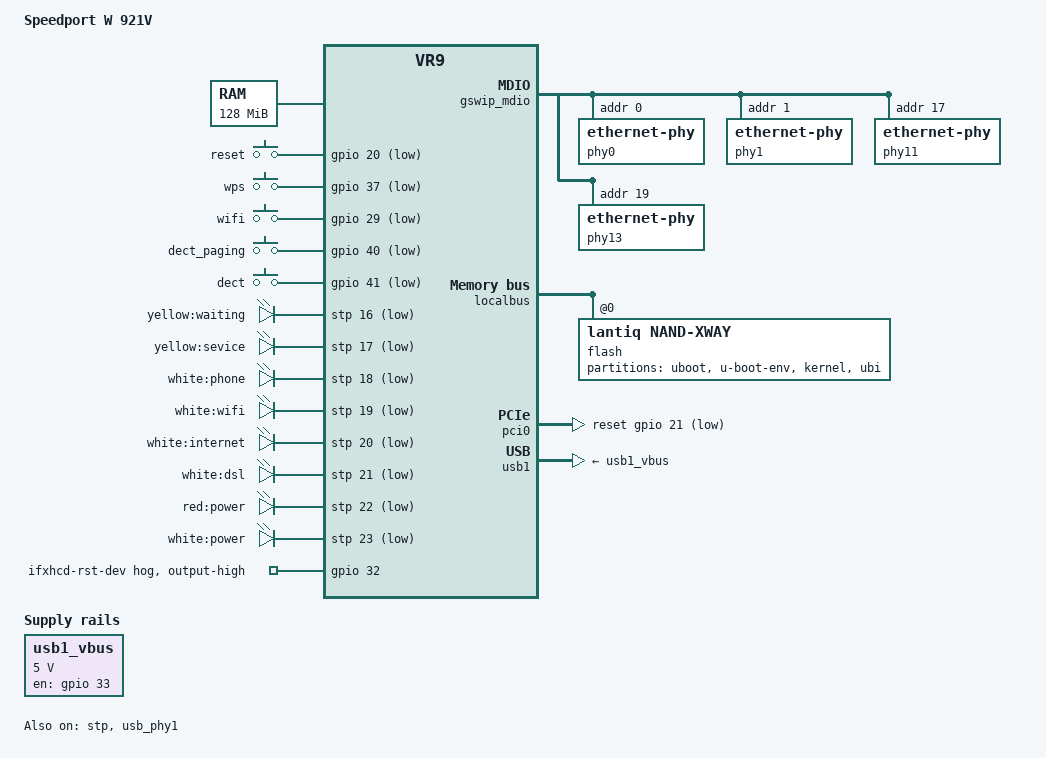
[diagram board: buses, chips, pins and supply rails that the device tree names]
#include "vr9.dtsi"

#include <dt-bindings/input/input.h>
#include <dt-bindings/leds/common.h>
#include <dt-bindings/mips/lantiq_rcu_gphy.h>

/ {
	compatible = "arcadyan,vgv953akw22", "lantiq,xway", "lantiq,vr9";
	model = "Speedport W 921V";

	chosen {
		bootargs = "console=ttyLTQ0,115200";
	};

	aliases {
		led-boot = &power_white;
		led-failsafe = &power_red;
		led-running = &power_white;
		led-upgrade = &waiting;

		led-dsl = &dsl;
		led-internet = &internet;
		led-wifi = &wifi;
	};

	memory@0 {
		device_type = "memory";
		reg = <0x0 0x8000000>;
	};

	keys {
		compatible = "gpio-keys-polled";
		poll-interval = <100>;

		reset {
			label = "reset";
			gpios = <&gpio 20 GPIO_ACTIVE_LOW>;
			linux,code = <KEY_RESTART>;
		};

		wps {
			label = "wps";
			gpios = <&gpio 37 GPIO_ACTIVE_LOW>;
			linux,code = <KEY_WPS_BUTTON>;
		};

		wifi {
			label = "wifi";
			gpios = <&gpio 29 GPIO_ACTIVE_LOW>;
			linux,code = <KEY_RFKILL>;
		};

		dect_paging {
			label = "dect_paging";
			gpios = <&gpio 40 GPIO_ACTIVE_LOW>;
			linux,code = <KEY_PHONE>;
		};

		dect_pairing {
			label = "dect";
			gpios = <&gpio 41 GPIO_ACTIVE_LOW>;
			linux,code = <KEY_CONFIG>;
		};
	};

	leds {
		compatible = "gpio-leds";

		waiting: waiting {
			label = "yellow:waiting";
			gpios = <&stp 16 GPIO_ACTIVE_LOW>;
		};
		service: service {
			label = "yellow:sevice";
			gpios = <&stp 17 GPIO_ACTIVE_LOW>;
		};
		phone: phone {
			label = "white:phone";
			gpios = <&stp 18 GPIO_ACTIVE_LOW>;
		};
		wifi: wifi {
			label = "white:wifi";
			gpios = <&stp 19 GPIO_ACTIVE_LOW>;
		};
		internet: internet {
			label = "white:internet";
			gpios = <&stp 20 GPIO_ACTIVE_LOW>;
		};
		dsl: dsl {
			label = "white:dsl";
			gpios = <&stp 21 GPIO_ACTIVE_LOW>;
		};
		power_red: power_red {
			label = "red:power";
			gpios = <&stp 22 GPIO_ACTIVE_LOW>;
		};
		power_white: power_white {
			label = "white:power";
			gpios = <&stp 23 GPIO_ACTIVE_LOW>;
			default-state = "keep";
		};
	};

	usb1_vbus: regulator-usb1-vbus {
		compatible = "regulator-fixed";

		regulator-name = "USB1_VBUS";

		regulator-min-microvolt = <5000000>;
		regulator-max-microvolt = <5000000>;

		gpios = <&gpio 33 GPIO_ACTIVE_HIGH>;
		enable-active-high;
	};
};

&gphy0 {
	lantiq,gphy-mode = <GPHY_MODE_GE>;
};

&gphy1 {
	lantiq,gphy-mode = <GPHY_MODE_GE>;
};

&gpio {
	pinctrl-names = "default";
	pinctrl-0 = <&state_default>;

	state_default: pinmux {
		exin3 {
			lantiq,groups = "exin3";
			lantiq,function = "exin";
		};
		stp {
			lantiq,groups = "stp";
			lantiq,function = "stp";
			lantiq,pull = <2>;
			lantiq,open-drain = <0>;
			lantiq,output = <1>;
		};
		pci-in {
			lantiq,groups = "req1";
			lantiq,function = "pci";
			lantiq,output = <0>;
			lantiq,open-drain = <1>;
			lantiq,pull = <2>;
		};
		pci-out {
			lantiq,groups = "gnt1";
			lantiq,function = "pci";
			lantiq,output = <1>;
			lantiq,open-drain = <0>;
			lantiq,pull = <0>;
		};
		pci_rst {
			lantiq,pins = "io21";
			lantiq,output = <1>;
			lantiq,open-drain = <0>;
			lantiq,pull = <2>;
		};
		pcie_rst {
			lantiq,pins = "io38";
			lantiq,pull = <0>;
			lantiq,output = <1>;
		};
		ifxhcd-rst {
			lantiq,pins = "io33";
			lantiq,pull = <0>;
			lantiq,open-drain = <0>;
			lantiq,output = <1>;
		};
	};
	ifxhcd-rst-dev {
		gpio-hog;
		line-name = "ifxhcd-rst-dev";
		gpios = <32 GPIO_ACTIVE_HIGH>;
		output-high;
	};
};

&eth0 {
	nvmem-cells = <&macaddr_caldata_ef0016 0>;
	nvmem-cell-names = "mac-address";
};

&ppe {
	nvmem-cells = <&macaddr_caldata_ef0016 4>;
	nvmem-cell-names = "mac-address";
};

&gswip {
	pinctrl-0 = <&mdio_pins>;
	pinctrl-names = "default";
};

&gswip_mdio {
	phy0: ethernet-phy@0 {
		reg = <0x0>;
	};
	phy1: ethernet-phy@1 {
		reg = <0x1>;
	};
	phy11: ethernet-phy@11 {
		reg = <0x11>;
	};
	phy13: ethernet-phy@13 {
		reg = <0x13>;
	};
};

&gswip_ports {
	port@0 {
		reg = <0>;
		label = "lan3";
		phy-mode = "rgmii-id";
		tx-internal-delay-ps = <1500>;
		rx-internal-delay-ps = <1500>;
		phy-handle = <&phy0>;
	};
	port@1 {
		reg = <1>;
		label = "lan4";
		phy-mode = "rgmii-id";
		tx-internal-delay-ps = <1500>;
		rx-internal-delay-ps = <1500>;
		phy-handle = <&phy1>;
	};
	port@2 {
		reg = <2>;
		label = "lan2";
		phy-mode = "internal";
		phy-handle = <&phy11>;
	};
	port@4 {
		reg = <4>;
		label = "lan1";
		phy-mode = "internal";
		phy-handle = <&phy13>;

		nvmem-cells = <&macaddr_caldata_ef0016 4>;
		nvmem-cell-names = "mac-address";
	};
};

&ppe {
	nvmem-cells = <&macaddr_caldata_ef0016 4>;
	nvmem-cell-names = "mac-address";
};

&localbus {
	flash@0 {
		compatible = "lantiq,nand-xway";
		lantiq,cs = <1>;
		bank-width = <2>;
		reg = <0x0 0x0 0x2000000>;

		partitions {
			compatible = "fixed-partitions";
			#address-cells = <1>;
			#size-cells = <1>;

			partition@0 {
				label = "uboot";
				reg = <0x0 0x40000>;
			};
			partition@40000 {
				label = "u-boot-env";
				reg = <0x40000 0x20000>;
			};
			partition@60000 {
				label = "kernel";
				reg = <0x60000 0x400000>;
			};
			partition@460000 {
				compatible = "linux,ubi";
				label = "ubi";
				reg = <0x460000 0x1B98000>;

				volumes {
					ubi-volume-caldata {
						volname = "caldata";

						nvmem-layout {
							compatible = "fixed-layout";
							#address-cells = <1>;
							#size-cells = <1>;

							macaddr_caldata_ef0016: macaddr@ef0016 {
								compatible = "mac-base";
								reg = <0xef0016 0x6>;
								#nvmem-cell-cells = <1>;
							};
						};
					};
				};
			};
			/*
			 * last 32 KiB are for the bad block table, not writable
			 */
		};
	};
};

&pci0 {
	status = "okay";
	reset-gpios = <&gpio 21 GPIO_ACTIVE_LOW>;

/*	pinctrl-0 = <&pci_gnt1_pins>, <&pci_req1_pins>;*/
/*	pinctrl-names = "default";*/



/*	wifi@1a30,0700*/
};

&pcie0 {
	status = "disabled";
	gpio-reset = <&gpio 38 GPIO_ACTIVE_HIGH>;
};
&stp {
	status = "okay";

	lantiq,shadow = <0xffffff>;
	lantiq,groups = <0x7>;
	lantiq,dsl = <0x0>;
	lantiq,phy1 = <0x0>;
	lantiq,phy2 = <0x0>;
};

&usb_phy1 {
	status = "okay";
};

&usb1 {
	status = "okay";
	vbus-supply = <&usb1_vbus>;
};
